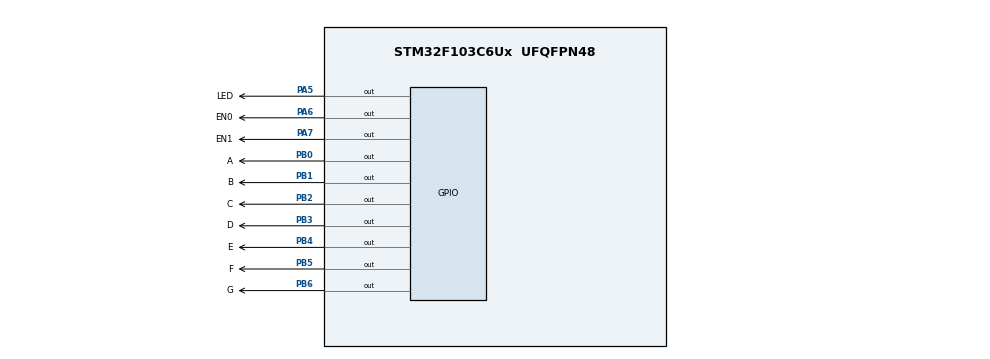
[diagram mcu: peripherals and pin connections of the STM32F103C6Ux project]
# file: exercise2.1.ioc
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Mcu.Family=STM32F1
Mcu.Name=STM32F103C6Ux
Mcu.Package=UFQFPN48
NVIC.PriorityGroup=NVIC_PRIORITYGROUP_4
NVIC.TIM2_IRQn=true\:0\:0\:false\:false\:true\:true\:true
PA5.GPIO_Label=LED
PA5.Signal=GPIO_Output
PA6.GPIO_Label=EN0
PA6.Signal=GPIO_Output
PA7.GPIO_Label=EN1
PA7.Signal=GPIO_Output
PB0.GPIO_Label=A
PB0.Signal=GPIO_Output
PB1.GPIO_Label=B
PB1.Signal=GPIO_Output
PB2.GPIO_Label=C
PB2.Signal=GPIO_Output
PB3.GPIO_Label=D
PB3.Signal=GPIO_Output
PB4.GPIO_Label=E
PB4.Signal=GPIO_Output
PB5.GPIO_Label=F
PB5.Signal=GPIO_Output
PB6.GPIO_Label=G
PB6.Signal=GPIO_Output
ProjectManager.HeapSize=0x200
ProjectManager.StackSize=0x400
ProjectManager.TargetToolchain=STM32CubeIDE
RCC.APB1Freq_Value=8000000
RCC.APB2Freq_Value=8000000
TIM2.Period=9
TIM2.Prescaler=7999
VP_SYS_VS_ND.Mode=No_Debug
VP_TIM2_VS_ClockSourceINT.Mode=Internal
board=custom

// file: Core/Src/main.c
/* USER CODE BEGIN Header */
/**
  ******************************************************************************
  * @file           : main.c
  * @brief          : Main program body
  ******************************************************************************
  * @attention
  *
  * <h2><center>&copy; Copyright (c) 2025 STMicroelectronics.
  * All rights reserved.</center></h2>
  *
  * This software component is licensed by ST under BSD 3-Clause license,
  * the "License"; You may not use this file except in compliance with the
  * License. You may obtain a copy of the License at:
  *                        opensource.org/licenses/BSD-3-Clause
  *
  ******************************************************************************
  */
/* USER CODE END Header */
#include "main.h"

TIM_HandleTypeDef htim2;

void SystemClock_Config(void);
static void MX_GPIO_Init(void);
static void MX_TIM2_Init(void);
/* USER CODE BEGIN PFP */
void display7SEG(int num);
/* USER CODE END PFP */

/* USER CODE BEGIN 0 */
const uint8_t seg_table[10]={
			0b1000000,
			0b1111001,
			0b0100100,
			0b0110000,
			0b0011001,
			0b0010010,
			0b0000010,
			0b1111000,
			0b0000000,
			0b0010000
};
uint16_t seg_pins[7] ={A_Pin, B_Pin, C_Pin, D_Pin, E_Pin, F_Pin, G_Pin};
/* USER CODE END 0 */

int main(void)
{

  /* MCU Configuration--------------------------------------------------------*/

  /* Reset of all peripherals, Initializes the Flash interface and the Systick. */
  HAL_Init();

  /* Configure the system clock */
  SystemClock_Config();

  /* Initialize all configured peripherals */
  MX_GPIO_Init();
  MX_TIM2_Init();
  /* USER CODE BEGIN 2 */
HAL_TIM_Base_Start_IT(&htim2);
  /* USER CODE END 2 */

  /* Infinite loop */
  while (1)
  {

  }
}

void SystemClock_Config(void)
{
  RCC_OscInitTypeDef RCC_OscInitStruct = {0};
  RCC_ClkInitTypeDef RCC_ClkInitStruct = {0};

  /** Initializes the RCC Oscillators according to the specified parameters
  * in the RCC_OscInitTypeDef structure.
  */
  RCC_OscInitStruct.OscillatorType = RCC_OSCILLATORTYPE_HSI;
  RCC_OscInitStruct.HSIState = RCC_HSI_ON;
  RCC_OscInitStruct.HSICalibrationValue = RCC_HSICALIBRATION_DEFAULT;
  RCC_OscInitStruct.PLL.PLLState = RCC_PLL_NONE;
  if (HAL_RCC_OscConfig(&RCC_OscInitStruct) != HAL_OK)
  {
    Error_Handler();
  }
  /** Initializes the CPU, AHB and APB buses clocks
  */
  RCC_ClkInitStruct.ClockType = RCC_CLOCKTYPE_HCLK|RCC_CLOCKTYPE_SYSCLK
                              |RCC_CLOCKTYPE_PCLK1|RCC_CLOCKTYPE_PCLK2;
  RCC_ClkInitStruct.SYSCLKSource = RCC_SYSCLKSOURCE_HSI;
  RCC_ClkInitStruct.AHBCLKDivider = RCC_SYSCLK_DIV1;
  RCC_ClkInitStruct.APB1CLKDivider = RCC_HCLK_DIV1;
  RCC_ClkInitStruct.APB2CLKDivider = RCC_HCLK_DIV1;

  if (HAL_RCC_ClockConfig(&RCC_ClkInitStruct, FLASH_LATENCY_0) != HAL_OK)
  {
    Error_Handler();
  }
}

static void MX_TIM2_Init(void)
{

  TIM_ClockConfigTypeDef sClockSourceConfig = {0};
  TIM_MasterConfigTypeDef sMasterConfig = {0};

  htim2.Instance = TIM2;
  htim2.Init.Prescaler = 7999;
  htim2.Init.CounterMode = TIM_COUNTERMODE_UP;
  htim2.Init.Period = 9;
  htim2.Init.ClockDivision = TIM_CLOCKDIVISION_DIV1;
  htim2.Init.AutoReloadPreload = TIM_AUTORELOAD_PRELOAD_DISABLE;
  if (HAL_TIM_Base_Init(&htim2) != HAL_OK)
  {
    Error_Handler();
  }
  sClockSourceConfig.ClockSource = TIM_CLOCKSOURCE_INTERNAL;
  if (HAL_TIM_ConfigClockSource(&htim2, &sClockSourceConfig) != HAL_OK)
  {
    Error_Handler();
  }
  sMasterConfig.MasterOutputTrigger = TIM_TRGO_RESET;
  sMasterConfig.MasterSlaveMode = TIM_MASTERSLAVEMODE_DISABLE;
  if (HAL_TIMEx_MasterConfigSynchronization(&htim2, &sMasterConfig) != HAL_OK)
  {
    Error_Handler();
  }

}

static void MX_GPIO_Init(void)
{
  GPIO_InitTypeDef GPIO_InitStruct = {0};

  /* GPIO Ports Clock Enable */
  __HAL_RCC_GPIOA_CLK_ENABLE();
  __HAL_RCC_GPIOB_CLK_ENABLE();

  /*Configure GPIO pin Output Level */
  HAL_GPIO_WritePin(GPIOA, LED_Pin|EN0_Pin|EN1_Pin, GPIO_PIN_SET);

  /*Configure GPIO pin Output Level */
  HAL_GPIO_WritePin(GPIOB, A_Pin|B_Pin|C_Pin|D_Pin
                          |E_Pin|F_Pin|G_Pin, GPIO_PIN_RESET);

  /*Configure GPIO pins : LED_Pin EN0_Pin EN1_Pin */
  GPIO_InitStruct.Pin = LED_Pin|EN0_Pin|EN1_Pin;
  GPIO_InitStruct.Mode = GPIO_MODE_OUTPUT_PP;
  GPIO_InitStruct.Pull = GPIO_NOPULL;
  GPIO_InitStruct.Speed = GPIO_SPEED_FREQ_LOW;
  HAL_GPIO_Init(GPIOA, &GPIO_InitStruct);

  /*Configure GPIO pins : A_Pin B_Pin C_Pin D_Pin
                           E_Pin F_Pin G_Pin */
  GPIO_InitStruct.Pin = A_Pin|B_Pin|C_Pin|D_Pin
                          |E_Pin|F_Pin|G_Pin;
  GPIO_InitStruct.Mode = GPIO_MODE_OUTPUT_PP;
  GPIO_InitStruct.Pull = GPIO_NOPULL;
  GPIO_InitStruct.Speed = GPIO_SPEED_FREQ_LOW;
  HAL_GPIO_Init(GPIOB, &GPIO_InitStruct);

}

/* USER CODE BEGIN 4 */
void display7SEG(int num){
	uint8_t pattern= seg_table[num];
		for(int i=0; i< 7; i++){
			if( pattern & (1<<i) )
				HAL_GPIO_WritePin(GPIOB, seg_pins[i], SET);
			else
				HAL_GPIO_WritePin(GPIOB, seg_pins[i], RESET);
		}
}
int counter =0;
int led_state =0;
void HAL_TIM_PeriodElapsedCallback(TIM_HandleTypeDef *htim){
	if(htim->Instance == TIM2){
		counter++;
		if(counter >=50){
			counter =0;
			if(led_state ==0){
				HAL_GPIO_WritePin(GPIOA, LED_Pin, RESET);
				HAL_GPIO_WritePin(GPIOA, EN0_Pin, RESET);
				HAL_GPIO_WritePin(GPIOA, EN1_Pin, SET);
				display7SEG(1);
				led_state =1;
			}else{
				HAL_GPIO_WritePin(GPIOA, LED_Pin, SET);
				HAL_GPIO_WritePin(GPIOA, EN0_Pin, SET);
				HAL_GPIO_WritePin(GPIOA, EN1_Pin, RESET);
				display7SEG(2);
				led_state =0;
			}
		}
	}
}
/* USER CODE END 4 */

void Error_Handler(void)
{
  __disable_irq();
  while (1)
  {
  }
}

/************************ (C) COPYRIGHT STMicroelectronics *****END OF FILE****/
